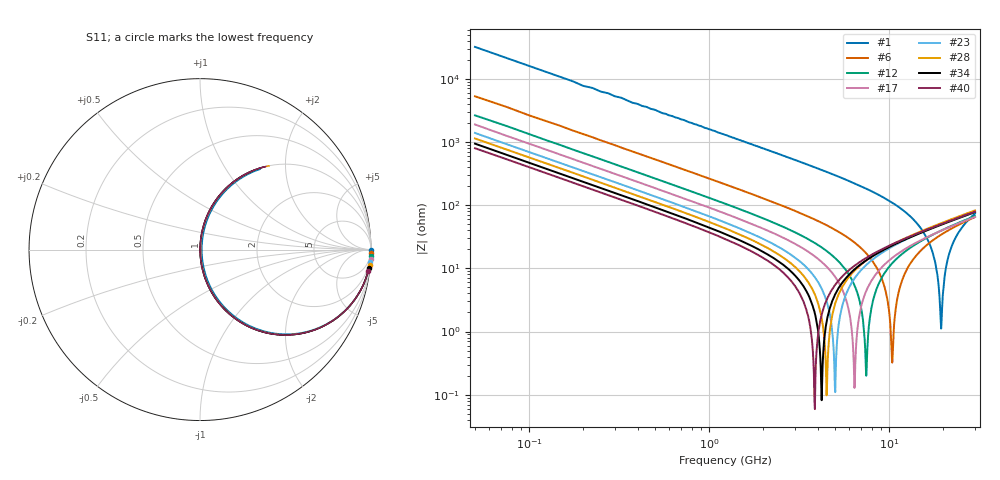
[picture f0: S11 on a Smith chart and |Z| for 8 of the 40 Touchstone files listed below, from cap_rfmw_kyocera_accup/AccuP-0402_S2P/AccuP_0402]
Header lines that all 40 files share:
!	AVX Thin Film Operation 	Date: April 2014
!	Description: Accu-P® Series, Thin Film  SMD RF Capacitor
# MHZ S MA R 50
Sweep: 50 MHz to 30 GHz
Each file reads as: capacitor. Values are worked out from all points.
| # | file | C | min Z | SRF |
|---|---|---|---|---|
| 1 | C0402SE0r1.s2p | 101 fF | 1.11 ohm | 19.44 GHz |
| 2 | C0402SE0r2.s2p | 200 fF | 911 mohm | 16.42 GHz |
| 3 | C0402SE0r3.s2p | 300 fF | 727 mohm | 14.62 GHz |
| 4 | C0402SE0r4.s2p | 400 fF | 504 mohm | 12.51 GHz |
| 5 | C0402SE0r5.s2p | 500 fF | 406 mohm | 11.28 GHz |
| 6 | C0402SE0r6.s2p | 600 fF | 322 mohm | 10.4 GHz |
| 7 | C0402SE0r7.s2p | 700 fF | 306 mohm | 9.545 GHz |
| 8 | C0402SE0r8.s2p | 799 fF | 291 mohm | 9.128 GHz |
| 9 | C0402SE0r9.s2p | 899 fF | 281 mohm | 8.821 GHz |
| 10 | C0402SE1r0.s2p | 999 fF | 221 mohm | 7.998 GHz |
| 11 | C0402SE1r1.s2p | 1.1 pF | 208 mohm | 7.785 GHz |
| 12 | C0402SE1r2.s2p | 1.2 pF | 200 mohm | 7.463 GHz |
| 13 | C0402SE1r3.s2p | 1.3 pF | 194 mohm | 7.059 GHz |
| 14 | C0402SE1r4.s2p | 1.4 pF | 194 mohm | 6.802 GHz |
| 15 | C0402SE1r5.s2p | 1.5 pF | 183 mohm | 6.547 GHz |
| 16 | C0402SE1r6.s2p | 1.6 pF | 133 mohm | 6.379 GHz |
| 17 | C0402SE1r7.s2p | 1.7 pF | 128 mohm | 6.425 GHz |
| 18 | C0402SE1r8.s2p | 1.8 pF | 118 mohm | 6.184 GHz |
| 19 | C0402SE1r9.s2p | 1.9 pF | 123 mohm | 6.077 GHz |
| 20 | C0402SE2r0.s2p | 2 pF | 109 mohm | 5.721 GHz |
| 21 | C0402SE2r1.s2p | 2.1 pF | 104 mohm | 5.391 GHz |
| 22 | C0402SE2r2.s2p | 2.2 pF | 106 mohm | 5.087 GHz |
| 23 | C0402SE2r3.s2p | 2.3 pF | 110 mohm | 5.009 GHz |
| 24 | C0402SE2r4.s2p | 2.4 pF | 110 mohm | 4.926 GHz |
| 25 | C0402SE2r5.s2p | 2.5 pF | 99 mohm | 4.714 GHz |
| 26 | C0402SE2r6.s2p | 2.6 pF | 112 mohm | 4.607 GHz |
| 27 | C0402SE2r7.s2p | 2.7 pF | 104 mohm | 4.584 GHz |
| 28 | C0402SE2r8.s2p | 2.8 pF | 97.9 mohm | 4.499 GHz |
| 29 | C0402SE2r9.s2p | 2.9 pF | 95.5 mohm | 4.423 GHz |
| 30 | C0402SE3r0.s2p | 3 pF | 99.1 mohm | 4.426 GHz |
| 31 | C0402SE3r1.s2p | 3.1 pF | 93.8 mohm | 4.375 GHz |
| 32 | C0402SE3r2.s2p | 3.2 pF | 86.2 mohm | 4.296 GHz |
| 33 | C0402SE3r3.s2p | 3.3 pF | 84.6 mohm | 4.29 GHz |
| 34 | C0402SE3r4.s2p | 3.4 pF | 81.9 mohm | 4.217 GHz |
| 35 | C0402SE3r5.s2p | 3.5 pF | 84.3 mohm | 4.248 GHz |
| 36 | C0402SE3r6.s2p | 3.6 pF | 79.5 mohm | 4.221 GHz |
| 37 | C0402SE3r7.s2p | 3.7 pF | 83.2 mohm | 4.112 GHz |
| 38 | C0402SE3r8.s2p | 3.8 pF | 92.6 mohm | 4.058 GHz |
| 39 | C0402SE3r9.s2p | 3.9 pF | 67.1 mohm | 3.956 GHz |
| 40 | C0402SE4r0.s2p | 4 pF | 59.2 mohm | 3.858 GHz |
